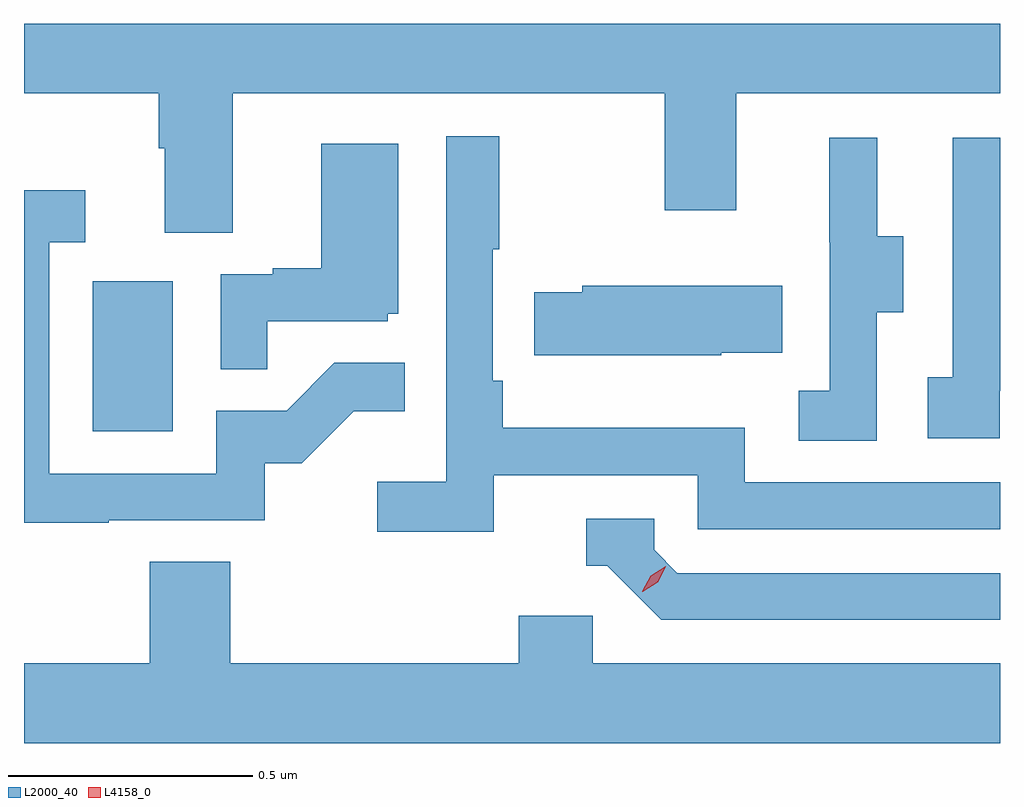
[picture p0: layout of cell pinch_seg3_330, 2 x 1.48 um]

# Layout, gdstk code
import gdstk
lib = gdstk.Library(unit=1e-6, precision=1e-09)
def R(c, l, rs):  # rectangles x0, y0, x1, y1
    for r in rs: c.add(gdstk.rectangle(r[:2], r[2:], *l))
def P(c, l, *ps):  # polygons
    for p in ps: c.add(gdstk.Polygon(p, *l))
L2000_40 = (2000, 40)
L4158_0 = (4158, 0)

pinch_seg3_330 = lib.new_cell('pinch_seg3_330')
R(pinch_seg3_330, L2000_40, [(1008.254,709.548,1008.418,709.855)])
P(pinch_seg3_330, L2000_40, [(1008.541,710.24),(1009.426,710.24),(1009.426,710.001),(1009.573,710.001),(1009.573,710.24),(1010.113,710.24),(1010.113,710.383),(1008.113,710.383),(1008.113,710.24),(1008.389,710.24),(1008.389,710.128),(1008.401,710.128),(1008.401,709.954),(1008.541,709.954)],
  [(1009.076,709.458),(1009.494,709.458),(1009.494,709.347),(1010.113,709.347),(1010.113,709.443),(1009.59,709.443),(1009.59,709.555),(1009.094,709.555),(1009.094,709.651),(1009.074,709.651),(1009.074,709.921),(1009.087,709.921),(1009.087,710.152),(1008.978,710.152),(1008.978,709.444),(1008.837,709.444),(1008.837,709.342),(1009.076,709.342)],
  [(1009.86,709.792),(1009.915,709.792),(1009.915,709.947),(1009.861,709.947),(1009.861,710.149),(1009.763,710.149),(1009.763,709.935),(1009.764,709.935),(1009.764,709.631),(1009.701,709.631),(1009.701,709.528),(1009.86,709.528)],
  [(1010.112,709.631),(1010.113,709.631),(1010.113,710.149),(1010.016,710.149),(1010.016,709.658),(1009.965,709.658),(1009.965,709.533),(1010.112,709.533)],
  [(1008.611,709.773),(1008.858,709.773),(1008.858,709.788),(1008.88,709.788),(1008.88,710.137),(1008.722,710.137),(1008.722,709.882),(1008.623,709.882),(1008.623,709.869),(1008.516,709.869),(1008.516,709.675),(1008.611,709.675)],
  [(1008.287,709.365),(1008.606,709.365),(1008.606,709.482),(1008.682,709.482),(1008.789,709.589),(1008.893,709.589),(1008.893,709.688),(1008.749,709.688),(1008.651,709.59),(1008.507,709.59),(1008.507,709.461),(1008.165,709.461),(1008.165,709.935),(1008.238,709.935),(1008.238,710.041),(1008.113,710.041),(1008.113,709.36),(1008.287,709.36)],
  [(1009.542,709.709),(1009.667,709.709),(1009.667,709.846),(1009.257,709.846),(1009.257,709.833),(1009.159,709.833),(1009.159,709.703),(1009.542,709.703)],
  [(1010.113,709.257),(1009.452,709.257),(1009.404,709.305),(1009.404,709.368),(1009.265,709.368),(1009.265,709.272),(1009.308,709.272),(1009.419,709.161),(1010.113,709.161)],
  [(1010.113,709.072),(1009.278,709.072),(1009.278,709.17),(1009.127,709.17),(1009.127,709.072),(1008.536,709.072),(1008.536,709.28),(1008.371,709.28),(1008.371,709.072),(1008.113,709.072),(1008.113,708.908),(1010.113,708.908)])
P(pinch_seg3_330, L4158_0, [(1009.38,709.219),(1009.38,709.22),(1009.397,709.252),(1009.428,709.271),(1009.428,709.271),(1009.428,709.27),(1009.412,709.238),(1009.381,709.219)])

lib.write_gds('pinch_seg3_330.gds')
